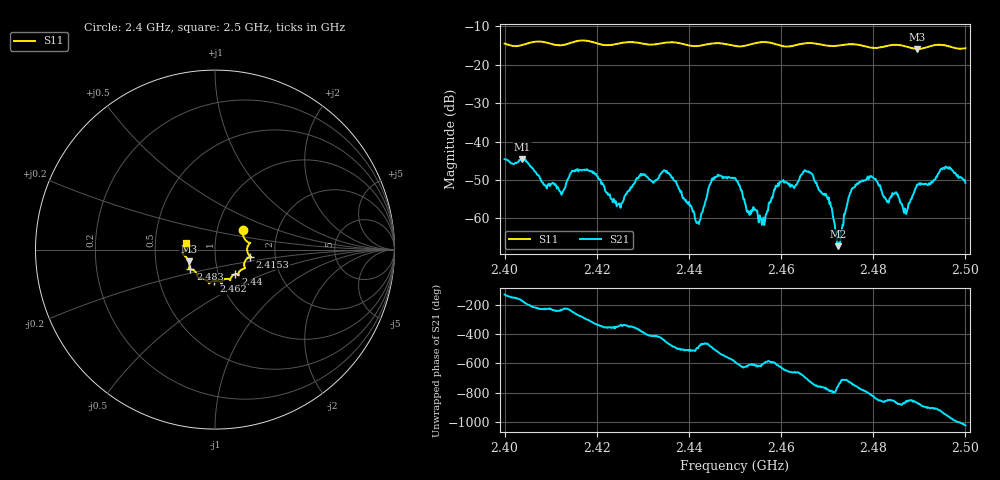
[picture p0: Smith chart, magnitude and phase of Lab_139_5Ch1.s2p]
# Hz S RI R 50
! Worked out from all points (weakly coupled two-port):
!   601 points, 2.4 GHz to 2.5 GHz, reference 50 ohm
!   highest |S21| = -44.58 dB at 2.4038 GHz (marker M1); lowest = -67.2 dB at 2.4723 GHz (marker M2)
!   lowest |S11| = -15.9 dB at 2.4895 GHz (marker M3), VSWR 1.38, Z = 37 - j5 ohm
!   |S11| at or under -10 dB: start of sweep to end of sweep
!   S12 and S22 are empty: the file has one direction only
!   S11 on the Smith chart (normalised r, x): 2.4 GHz: 1.33, +0.29; 2.4153 GHz: 1.48, -0.12; 2.44 GHz: 1.21, -0.34; 2.462 GHz: 0.93, -0.33; 2.483 GHz: 0.74, -0.17; 2.5 GHz: 0.72, +0.06
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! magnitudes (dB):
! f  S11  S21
! 2.4 GHz  -14.5  -44.6
! 2.4038 GHz  -14.9  -44.6
! 2.4123 GHz  -14.9  -53.8
! 2.4153 GHz  -14.0  -47.4
! 2.4167 GHz  -13.7  -47.4
! 2.4248 GHz  -14.4  -56.1
! 2.4333 GHz  -14.6  -49.6
! 2.44 GHz  -15.0  -55.7
! 2.442 GHz  -15.1  -61.0
! 2.4453 GHz  -14.4  -49.4
! 2.45 GHz  -15.1  -49.5
! 2.456 GHz  -14.1  -60.7
! 2.462 GHz  -15.2  -51.8
! 2.4667 GHz  -14.4  -48.4
! 2.4705 GHz  -15.1  -56.2
! 2.4723 GHz  -15.0  -67.2
! 2.4767 GHz  -14.8  -50.8
! 2.483 GHz  -15.1  -55.8
! 2.4833 GHz  -15.0  -55.9
! 2.487 GHz  -15.2  -58.7
! 2.4895 GHz  -15.9  -51.2
! 2.5 GHz  -15.7  -50.7
